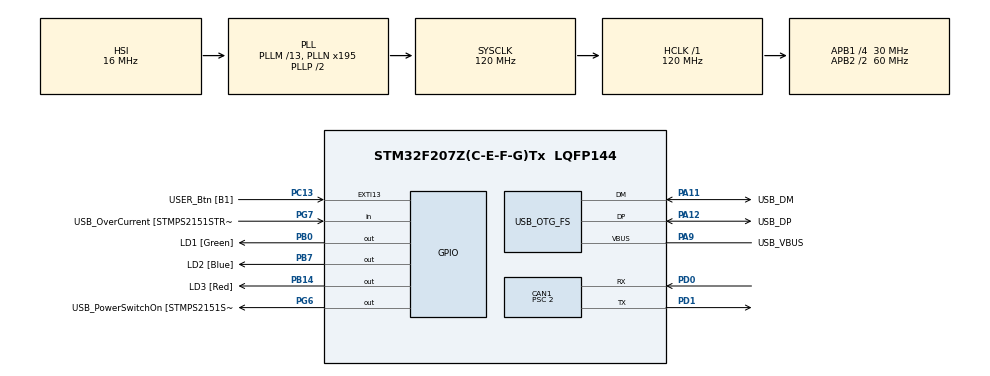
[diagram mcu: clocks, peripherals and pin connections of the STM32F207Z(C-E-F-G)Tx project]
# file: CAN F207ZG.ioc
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Mcu.Family=STM32F2
USB_DEVICE.CLASS_NAME_FS=CDC
PH0-OSC_IN.Signal=RCC_OSC_IN
RCC.CortexFreq_Value=120000000
PG6.Signal=GPIO_Output
PB14.GPIO_Label=LD3 [Red]
PG6.GPIO_Label=USB_PowerSwitchOn [STMPS2151STR_EN]
PA14.GPIO_Label=TCK
RCC.SYSCLKSourceVirtual=RCC_SYSCLKSOURCE_PLLCLK
PA11.Mode=Device_Only
PB0.GPIO_Label=LD1 [Green]
USB_DEVICE.VirtualMode-CDC_FS=Cdc
PC13.GPIO_Label=USER_Btn [B1]
PB13.GPIO_Label=RMII_TXD1 [LAN8742A-CZ-TR_TXD1]
PB13.Signal=ETH_TXD1
PG13.Signal=ETH_TXD0
PG11.Signal=ETH_TX_EN
RCC.SYSCLKSource=RCC_SYSCLKSOURCE_PLLCLK
ProjectManager.StackSize=0x400
PA12.Signal=USB_OTG_FS_DP
TIM1.Prescaler=1199
RCC.HCLKFreq_Value=120000000
RCC.APB2TimFreq_Value=120000000
PD0.Signal=CAN1_RX
PD8.Signal=USART3_TX
RCC.AHBFreq_Value=120000000
PH0-OSC_IN.Mode=HSE-External-Oscillator
PH0-OSC_IN.GPIO_Label=MCO [STM32F103CBT6_PA8]
NVIC.EXTI15_10_IRQn=true\:0\:0\:false\:false\:true\:true\:true
RCC.HSE_VALUE=8000000
RCC.PLLMUL=RCC_PLL_MUL9
PC4.GPIO_Label=RMII_RXD0 [LAN8742A-CZ-TR_RXD0]
PA10.GPIO_Label=USB_ID
PB7.Signal=GPIO_Output
PA8.Signal=USB_OTG_FS_SOF
VP_TIM1_VS_ClockSourceINT.Mode=Internal
PH1-OSC_OUT.Mode=HSE-External-Oscillator
PB7.GPIO_Label=LD2 [Blue]
CAN1.Prescaler=2
Mcu.Package=LQFP144
NVIC.OTG_FS_IRQn=true\:0\:0\:false\:false\:true\:false\:true
PA2.GPIO_Label=RMII_MDIO [LAN8742A-CZ-TR_MDIO]
PA10.Signal=USB_OTG_FS_ID
USB_OTG_FS.VirtualMode=Device_Only
TIM8.Prescaler=9599
RCC.APB2CLKDivider=RCC_HCLK_DIV2
RCC.APB1TimFreq_Value=60000000
PG11.GPIO_Label=RMII_TX_EN [LAN8742A-CZ-TR_TXEN]
PC5.Signal=ETH_RXD1
TIM1.Period=24999
CAN1.CalculateTimeBit=999.99
CAN1.CalculateTimeQuantum=66.66666666666667
PB3.GPIO_Label=SWO
PG7.Signal=GPIO_Input
PD9.GPIO_Label=STLK_TX [STM32F103CBT6_PA2]
USB_DEVICE.VirtualModeFS=Cdc_FS
PC13.Signal=GPXTI13
PA9.GPIO_Label=USB_VBUS
CAN1.CalculateBaudRate=1000000
PC4.Signal=ETH_RXD0
PD1.Signal=CAN1_TX
PA11.GPIO_Label=USB_DM
PD9.Signal=USART3_RX
RCC.APB1CLKDivider=RCC_HCLK_DIV4
PC14-OSC32_IN.Signal=RCC_OSC32_IN
PG13.GPIO_Label=RMII_TXD0 [LAN8742A-CZ-TR_TXD0]
PA12.GPIO_Label=USB_DP
PD8.GPIO_Label=STLK_RX [STM32F103CBT6_PA3]
PA13.Signal=SYS_JTMS-SWDIO
PA9.Mode=Activate_VBUS
PA8.GPIO_Label=USB_SOF [TP1]
CAN1.BS2=CAN_BS2_2TQ
CAN1.BS1=CAN_BS1_12TQ
ProjectManager.TargetToolchain=STM32CubeIDE
VP_USB_DEVICE_VS_USB_DEVICE_CDC_FS.Mode=CDC_FS
PA9.Signal=USB_OTG_FS_VBUS
VP_TIM8_VS_ClockSourceINT.Mode=Internal
RCC.USBFreq_Value=48000000
RCC.LSE_VALUE=32768
PC15-OSC32_OUT.Signal=RCC_OSC32_OUT
PA1.Signal=ETH_REF_CLK
PB14.Signal=GPIO_Output
board=NUCLEO-F207ZG
RCC.VCOOutputFreq_Value=240000000
PD1.Mode=CAN_Activate
RCC.APB2Freq_Value=60000000
RCC.PRESCALERUSB=RCC_USBCLKSOURCE_PLL_DIV1_5
CAN1.Mode=CAN_MODE_NORMAL
PG7.GPIO_Label=USB_OverCurrent [STMPS2151STR_FAULT]
PA1.GPIO_Label=RMII_REF_CLK [LAN8742A-CZ-TR_REFCLK0]
PC1.GPIO_Label=RMII_MDC [LAN8742A-CZ-TR_MDC]
PH1-OSC_OUT.Signal=RCC_OSC_OUT
Mcu.Name=STM32F207Z(C-E-F-G)Tx
PD0.Mode=CAN_Activate
PA2.Signal=ETH_MDIO
PA13.GPIO_Label=TMS
TIM8.Period=37499
RCC.48MHZClocksFreq_Value=48000000
PB3.Signal=SYS_JTDO-SWO
RCC.SYSCLKFreq_VALUE=120000000
PA7.GPIO_Label=RMII_CRS_DV [LAN8742A-CZ-TR_CRS_DV]
PA12.Mode=Device_Only
PC13.GPIO_ModeDefaultEXTI=GPIO_MODE_IT_FALLING
PC5.GPIO_Label=RMII_RXD1 [LAN8742A-CZ-TR_RXD1]
PA11.Signal=USB_OTG_FS_DM
PA14.Signal=SYS_JTCK-SWCLK
ProjectManager.HeapSize=0x200
NVIC.TIM1_UP_TIM10_IRQn=true\:0\:0\:false\:false\:true\:true\:true
RCC.HSI_VALUE=16000000
NVIC.TIM8_UP_TIM13_IRQn=true\:0\:0\:false\:false\:true\:true\:true
RCC.PLLQ=5
NVIC.PriorityGroup=NVIC_PRIORITYGROUP_4
RCC.PLLM=13
RCC.PLLN=195
RCC.APB1Freq_Value=30000000
PB0.Signal=GPIO_Output
PC1.Signal=ETH_MDC
NVIC.CAN1_RX0_IRQn=true\:0\:0\:false\:false\:true\:true\:true
PA7.Signal=ETH_CRS_DV

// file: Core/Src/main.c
/* USER CODE BEGIN Header */
/**
  ******************************************************************************
  * @file           : main.c
  * @brief          : Main program body
  ******************************************************************************
  * @attention
  *
  * <h2><center>&copy; Copyright (c) 2021 STMicroelectronics.
  * All rights reserved.</center></h2>
  *
  * This software component is licensed by ST under BSD 3-Clause license,
  * the "License"; You may not use this file except in compliance with the
  * License. You may obtain a copy of the License at:
  *                        opensource.org/licenses/BSD-3-Clause
  *
  ******************************************************************************
  */
//Чем ниже - тем выше приоритет
#define ID_SET_LED 0x0001
#define ID_DATA 0x0002
#define ID_CONNECT 0x0003
/* USER CODE END Header */
#include "main.h"
#include "can.h"
#include "tim.h"
#include "usb_device.h"
#include "gpio.h"

/* USER CODE BEGIN Includes */
#include "usbd_cdc_if.h"
/* USER CODE END Includes */

/* USER CODE BEGIN PV */
//Заголовок пакета включения светодиода на другой плате:
CAN_TxHeaderTypeDef TxHeader;
//Заголовок пакета, который отправляется каждую секунду для подтверждения соединения:
CAN_TxHeaderTypeDef TxHeader_Connectivity;
//Заголовок пакета, который отправляет второй плате данные о том, какие светодиоды она будет зажигать на первой плате
CAN_TxHeaderTypeDef TxHeader_SetLED;
//Заголовок принимаемого пакета
CAN_RxHeaderTypeDef RxHeader;
uint8_t TxData[3] = {0,};
uint8_t TxDataSet[3] = {0,};
uint8_t RxData[3] = {0,};
uint32_t TxMailBox = 0;
uint8_t ConnectionErr = 0;
uint8_t ConErrMsg[] = "F207ZG: CAN соединение разорвано\r";
uint8_t ConResMsg[] = "F207ZG: CAN соединение восстановлено\r";
uint8_t* USB_Rx;
uint8_t BlinkSkip = 0;
/* USER CODE END PV */

void SystemClock_Config(void);

/* USER CODE BEGIN 0 */
//Прерывание на приём сообщения по CAN шине
void HAL_CAN_RxFifo0MsgPendingCallback(CAN_HandleTypeDef *hcan1) {
    if(HAL_CAN_GetRxMessage(hcan1, CAN_RX_FIFO0, &RxHeader, RxData) == HAL_OK) {
    	HAL_TIM_Base_Stop_IT(&htim8);
    	//Если связь была потеряна, отключение светодиодов
    	if (ConnectionErr) {
    		HAL_GPIO_WritePin(GPIOB, GPIO_PIN_0, GPIO_PIN_RESET);
    		HAL_GPIO_WritePin(GPIOB, GPIO_PIN_7, GPIO_PIN_RESET);
    		HAL_GPIO_WritePin(GPIOB, GPIO_PIN_14, GPIO_PIN_RESET);
    	    CDC_Transmit_FS(ConResMsg, strlen((char *)ConResMsg));
    	}
    	ConnectionErr = 0;
    	if (RxHeader.StdId == ID_DATA) {
        	if (RxData[0]) HAL_GPIO_TogglePin(GPIOB, GPIO_PIN_14);
        	if (RxData[1]) HAL_GPIO_TogglePin(GPIOB, GPIO_PIN_7);
        	if (RxData[2]) HAL_GPIO_TogglePin(GPIOB, GPIO_PIN_0);
    	}
    	if (RxHeader.StdId == ID_SET_LED) {
			TxData[0] = RxData[0];
			TxData[1] = RxData[1];
			TxData[2] = RxData[2];
    	}
    	//Сброс счётчика таймера отсутствия соединения и его запуск
    	__HAL_TIM_SetCounter(&htim8,0);
    	HAL_TIM_Base_Start_IT(&htim8);
    }
}

void HAL_GPIO_EXTI_Callback (uint16_t GPIO_Pin) {
	if(GPIO_Pin == GPIO_PIN_13) {
		//Отключение прерывания для устранения дребезга
		HAL_NVIC_DisableIRQ(EXTI15_10_IRQn);
		//Есть ли данные от USB. Да = перезапись пинов для зажигания
		//Посылать так "echo -ne "\x1\x1\x1\x1\x1" > /dev/ttyACM1"
		//\x LD3 \x LD2 \x LD1 \x Отправить данные из USB на другую плату по CAN \x Записать данные из USB локально
		USB_Rx = USB_Rx_Msg();
		if (USB_Rx) {
			if (USB_Rx[3]) {
				TxDataSet[0] = USB_Rx[0];
				TxDataSet[1] = USB_Rx[1];
				TxDataSet[2] = USB_Rx[2];
				HAL_CAN_AddTxMessage(&hcan1, &TxHeader_SetLED, TxDataSet, &TxMailBox);
			}
			if (USB_Rx[4]) {
				TxData[0] = USB_Rx[0];
				TxData[1] = USB_Rx[1];
				TxData[2] = USB_Rx[2];
			}
		}
		//Отправка сообщения
		HAL_CAN_AddTxMessage(&hcan1, &TxHeader, TxData, &TxMailBox);
		//Включение прерывания через 250 мс
		HAL_TIM_Base_Start_IT(&htim1);
	}
}
//Прерывания на таймеры
void HAL_TIM_PeriodElapsedCallback(TIM_HandleTypeDef *htim) {
        if(htim->Instance == TIM1) {
        	HAL_TIM_Base_Stop_IT(&htim1);
        	__HAL_TIM_SetCounter(&htim1,0);
        	if (ConnectionErr) {
        		//Поскольку таймер настроен на 250мс, для мигания каждые 500мс надо пропускать одно переполнение
        		if (BlinkSkip) BlinkSkip = 0;
        		else {
            		HAL_GPIO_TogglePin(GPIOB, GPIO_PIN_0);
            		HAL_GPIO_TogglePin(GPIOB, GPIO_PIN_7);
            		HAL_GPIO_TogglePin(GPIOB, GPIO_PIN_14);
            		BlinkSkip = 1;
        		}
        		HAL_TIM_Base_Start_IT(&htim1);
        	}
        	else {
                __HAL_GPIO_EXTI_CLEAR_IT(GPIO_PIN_13);  // очищаем бит EXTI_PR (бит прерывания)
                NVIC_ClearPendingIRQ(EXTI15_10_IRQn); // очищаем бит NVIC_ICPRx (бит очереди)
                HAL_NVIC_EnableIRQ(EXTI15_10_IRQn);   // включаем внешнее прерывание
        	}
        }
        if(htim->Instance == TIM8) {
        	HAL_TIM_Base_Stop_IT(&htim8);
        	__HAL_TIM_SetCounter(&htim8,0);
        	ConnectionErr = 1;
            BlinkSkip = 1;
        	HAL_GPIO_WritePin(GPIOB, GPIO_PIN_0, GPIO_PIN_SET);
        	HAL_GPIO_WritePin(GPIOB, GPIO_PIN_7, GPIO_PIN_SET);
        	HAL_GPIO_WritePin(GPIOB, GPIO_PIN_14, GPIO_PIN_SET);
            CDC_Transmit_FS(ConErrMsg, strlen((char *)ConErrMsg));
        	//Поскольку TIM1 настроен на 250мс, можно использовать его для мигания светодиодами
        	HAL_TIM_Base_Start_IT(&htim1);
        }
}
/* USER CODE END 0 */

int main(void)
{

  /* MCU Configuration--------------------------------------------------------*/

  /* Reset of all peripherals, Initializes the Flash interface and the Systick. */
  HAL_Init();

  /* Configure the system clock */
  SystemClock_Config();

  /* Initialize all configured peripherals */
  MX_GPIO_Init();
  MX_CAN1_Init();
  MX_TIM1_Init();
  MX_TIM8_Init();
  MX_USB_DEVICE_Init();
  /* USER CODE BEGIN 2 */
  //Пакет с данными
  TxHeader.StdId = ID_DATA;
  TxHeader.DLC = 3;
  //Красный светодиод
  TxData[0] = 1;
  //Синий светодиод
  TxData[1] = 0;
  //Зелёный светодиод
  TxData[2] = 1;
  //Пакет проверки соединения
  TxHeader_Connectivity.StdId = ID_CONNECT;
  TxHeader_Connectivity.DLC = 0;
  //Пакет установки светодиода
  TxHeader_SetLED.StdId = ID_SET_LED;
  TxHeader_SetLED.DLC = 3;
  //Одинаковые параметры пакетов
  TxHeader.ExtId = TxHeader_Connectivity.ExtId = TxHeader_SetLED.ExtId = 0;
  TxHeader.RTR = TxHeader_Connectivity.RTR = TxHeader_SetLED.RTR = 0;
  TxHeader.IDE = TxHeader_Connectivity.IDE = TxHeader_SetLED.IDE = 0;
  TxHeader.TransmitGlobalTime = TxHeader_Connectivity.TransmitGlobalTime = TxHeader_SetLED.TransmitGlobalTime = 0;
  HAL_CAN_Start(&hcan1);
  HAL_CAN_ActivateNotification(&hcan1, CAN_IT_RX_FIFO0_MSG_PENDING);
  //Если не сбросить флаг, первое прерывание произойдёт непредсказуемо
  __HAL_TIM_CLEAR_FLAG(&htim1, TIM_SR_UIF);
  __HAL_TIM_CLEAR_FLAG(&htim8, TIM_SR_UIF);
  //Таймер на 3 секунды для проверки соединения
  HAL_TIM_Base_Start_IT(&htim8);
  /* USER CODE END 2 */

  /* Infinite loop */
  while (1)
  {

    /* USER CODE BEGIN 3 */
	while (HAL_CAN_GetTxMailboxesFreeLevel(&hcan1) == 0);
	if (HAL_OK != HAL_CAN_AddTxMessage(&hcan1, &TxHeader_Connectivity, 0, &TxMailBox))
		Error_Handler();
	while (HAL_CAN_IsTxMessagePending(&hcan1, TxMailBox));
  	HAL_Delay(1000);
  }
  /* USER CODE END 3 */
}

void SystemClock_Config(void)
{
  RCC_OscInitTypeDef RCC_OscInitStruct = {0};
  RCC_ClkInitTypeDef RCC_ClkInitStruct = {0};

  /** Initializes the RCC Oscillators according to the specified parameters
  * in the RCC_OscInitTypeDef structure.
  */
  RCC_OscInitStruct.OscillatorType = RCC_OSCILLATORTYPE_HSI;
  RCC_OscInitStruct.HSIState = RCC_HSI_ON;
  RCC_OscInitStruct.HSICalibrationValue = RCC_HSICALIBRATION_DEFAULT;
  RCC_OscInitStruct.PLL.PLLState = RCC_PLL_ON;
  RCC_OscInitStruct.PLL.PLLSource = RCC_PLLSOURCE_HSI;
  RCC_OscInitStruct.PLL.PLLM = 13;
  RCC_OscInitStruct.PLL.PLLN = 195;
  RCC_OscInitStruct.PLL.PLLP = RCC_PLLP_DIV2;
  RCC_OscInitStruct.PLL.PLLQ = 5;
  if (HAL_RCC_OscConfig(&RCC_OscInitStruct) != HAL_OK)
  {
    Error_Handler();
  }
  /** Initializes the CPU, AHB and APB buses clocks
  */
  RCC_ClkInitStruct.ClockType = RCC_CLOCKTYPE_HCLK|RCC_CLOCKTYPE_SYSCLK
                              |RCC_CLOCKTYPE_PCLK1|RCC_CLOCKTYPE_PCLK2;
  RCC_ClkInitStruct.SYSCLKSource = RCC_SYSCLKSOURCE_PLLCLK;
  RCC_ClkInitStruct.AHBCLKDivider = RCC_SYSCLK_DIV1;
  RCC_ClkInitStruct.APB1CLKDivider = RCC_HCLK_DIV4;
  RCC_ClkInitStruct.APB2CLKDivider = RCC_HCLK_DIV2;

  if (HAL_RCC_ClockConfig(&RCC_ClkInitStruct, FLASH_LATENCY_3) != HAL_OK)
  {
    Error_Handler();
  }
}

void Error_Handler(void)
{
  __disable_irq();
  while (1)
  {
  }
}

/************************ (C) COPYRIGHT STMicroelectronics *****END OF FILE****/
